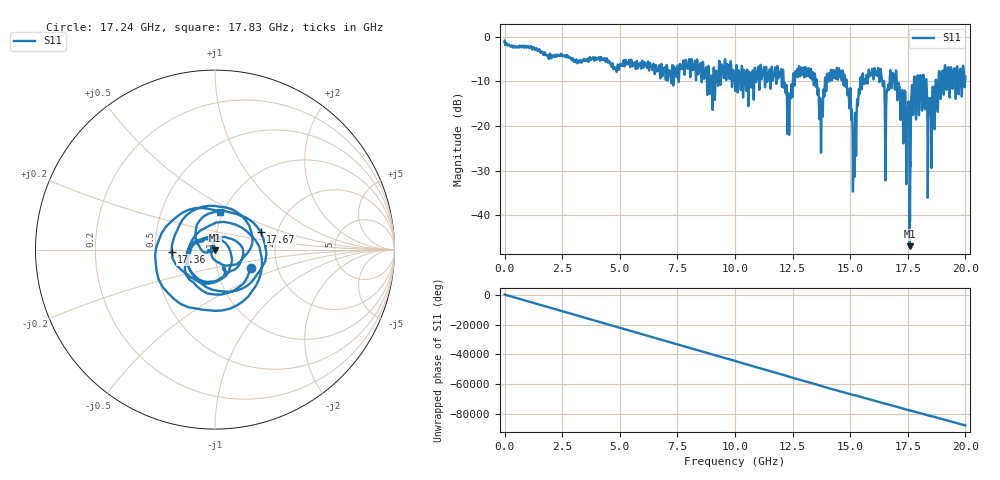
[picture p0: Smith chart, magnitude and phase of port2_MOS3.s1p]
! MS46122B
! 2250307/22442219
! 6/20/2025 7:49:52 AM
! C:\USERS\SPARKY\DOCUMENTS\VNA_DATA\JUNE20_2025\3.0K\PORT2_MOS3.S1P
! CHANNEL.1
! TR.MEASUREMENT
! RAW.DATA
# GHZ S RI R 50.0
! FREQ.GHZ  S11RE  S11IM
!; PortSelection: Port_1
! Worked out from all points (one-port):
!   10001 points, 1 MHz to 20 GHz, reference 50 ohm
!   lowest |S11| = -47.0 dB at 17.58 GHz (marker M1), VSWR 1.01, Z = 49.9 - j0.425 ohm
!   |S11| at or under -10 dB: 12.11 GHz to 12.52 GHz (401.7 MHz wide, 3.26 % of centre); 14.85 GHz to 15.44 GHz (587.8 MHz wide, 3.88 % of centre); 17.02 GHz to 17.77 GHz (744.6 MHz wide, 4.28 % of centre) (the widest 3 of 62)
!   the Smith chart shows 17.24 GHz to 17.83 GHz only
!   S11 on the Smith chart (normalised r, x): 17.24 GHz: 1.46, -0.31; 17.36 GHz: 0.61, -0.02; 17.67 GHz: 1.63, +0.35; 17.83 GHz: 0.96, +0.43
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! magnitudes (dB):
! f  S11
! 1 MHz  -1.1
! 2.501 GHz  -4.4
! 5.001 GHz  -6.3
! 7.501 GHz  -6.5
! 10 GHz  -11.5
! 11.91 GHz  -8.1
! 12.34 GHz  -17.7
! 12.5 GHz  -12.8
! 13.29 GHz  -7.2
! 13.73 GHz  -26.0
! 14.5 GHz  -7.1
! 15 GHz  -11.7
! 15.18 GHz  -30.7
! 15.46 GHz  -9.0
! 15.88 GHz  -8.5
! 16.29 GHz  -8.3
! 16.59 GHz  -12.0
! 16.92 GHz  -10.6
! 17.24 GHz  -13.0
! 17.36 GHz  -12.3
! 17.5 GHz  -19.2
! 17.58 GHz  -47.0
! 17.67 GHz  -11.3
! 17.83 GHz  -13.4
! 18.24 GHz  -15.8
! 18.45 GHz  -14.0
! 19.05 GHz  -12.7
! 20 GHz  -8.9
